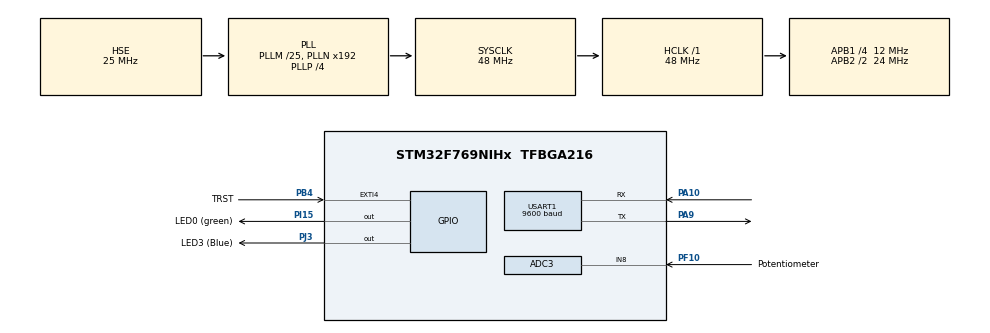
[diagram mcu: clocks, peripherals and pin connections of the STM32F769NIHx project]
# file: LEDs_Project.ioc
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ADC1.Channel-0\#ChannelRegularConversion=ADC_CHANNEL_TEMPSENSOR
ADC1.ContinuousConvMode=ENABLE
ADC1.DMAContinuousRequests=ENABLE
ADC1.NbrOfConversionFlag=1
ADC1.Rank-0\#ChannelRegularConversion=1
ADC1.SamplingTime-0\#ChannelRegularConversion=ADC_SAMPLETIME_3CYCLES
ADC1.ScanConvMode=ADC_SCAN_ENABLE
ADC1.master=1
ADC3.Channel-0\#ChannelRegularConversion=ADC_CHANNEL_8
ADC3.ClockPrescaler=ADC_CLOCK_SYNC_PCLK_DIV2
ADC3.ContinuousConvMode=ENABLE
ADC3.DMAContinuousRequests=ENABLE
ADC3.EOCSelection=ADC_EOC_SINGLE_CONV
ADC3.InjNumberOfConversion=0
ADC3.NbrOfConversion=1
ADC3.NbrOfConversionFlag=1
ADC3.Rank-0\#ChannelRegularConversion=1
ADC3.SamplingTime-0\#ChannelRegularConversion=ADC_SAMPLETIME_3CYCLES
ADC3.ScanConvMode=ADC_SCAN_ENABLE
DSIHOST_CKN.GPIO_Label=DSI_CK_N
DSIHOST_CKN.Signal=DSIHOST_CKN
DSIHOST_CKP.GPIO_Label=DSI_CK_P
DSIHOST_CKP.Signal=DSIHOST_CKP
DSIHOST_D0N.GPIO_Label=DSI_D0_N
DSIHOST_D0N.Signal=DSIHOST_D0N
DSIHOST_D0P.GPIO_Label=DSI_D0_P
DSIHOST_D0P.Signal=DSIHOST_D0P
DSIHOST_D1N.GPIO_Label=DSI_D1_N
DSIHOST_D1N.Signal=DSIHOST_D1N
DSIHOST_D1P.GPIO_Label=DSI_D1_P
DSIHOST_D1P.Signal=DSIHOST_D1P
Dma.ADC1.2.Direction=DMA_PERIPH_TO_MEMORY
Dma.ADC1.2.FIFOMode=DMA_FIFOMODE_DISABLE
Dma.ADC1.2.Instance=DMA2_Stream0
Dma.ADC1.2.MemDataAlignment=DMA_MDATAALIGN_HALFWORD
Dma.ADC1.2.MemInc=DMA_MINC_ENABLE
Dma.ADC1.2.Mode=DMA_NORMAL
Dma.ADC1.2.PeriphDataAlignment=DMA_PDATAALIGN_HALFWORD
Dma.ADC1.2.PeriphInc=DMA_PINC_DISABLE
Dma.ADC1.2.Priority=DMA_PRIORITY_LOW
Dma.ADC3.3.Direction=DMA_PERIPH_TO_MEMORY
Dma.ADC3.3.FIFOMode=DMA_FIFOMODE_DISABLE
Dma.ADC3.3.Instance=DMA2_Stream1
Dma.ADC3.3.MemDataAlignment=DMA_MDATAALIGN_HALFWORD
Dma.ADC3.3.MemInc=DMA_MINC_ENABLE
Dma.ADC3.3.Mode=DMA_NORMAL
Dma.ADC3.3.PeriphDataAlignment=DMA_PDATAALIGN_HALFWORD
Dma.ADC3.3.PeriphInc=DMA_PINC_DISABLE
Dma.ADC3.3.Priority=DMA_PRIORITY_LOW
Dma.Request0=USART1_RX
Dma.Request1=USART1_TX
Dma.Request2=ADC1
Dma.Request3=ADC3
Dma.USART1_RX.0.Direction=DMA_PERIPH_TO_MEMORY
Dma.USART1_RX.0.FIFOMode=DMA_FIFOMODE_DISABLE
Dma.USART1_RX.0.Instance=DMA2_Stream2
Dma.USART1_RX.0.MemDataAlignment=DMA_MDATAALIGN_BYTE
Dma.USART1_RX.0.MemInc=DMA_MINC_ENABLE
Dma.USART1_RX.0.Mode=DMA_NORMAL
Dma.USART1_RX.0.PeriphDataAlignment=DMA_PDATAALIGN_BYTE
Dma.USART1_RX.0.PeriphInc=DMA_PINC_DISABLE
Dma.USART1_RX.0.Priority=DMA_PRIORITY_LOW
Dma.USART1_TX.1.Direction=DMA_MEMORY_TO_PERIPH
Dma.USART1_TX.1.FIFOMode=DMA_FIFOMODE_DISABLE
Dma.USART1_TX.1.Instance=DMA2_Stream7
Dma.USART1_TX.1.MemDataAlignment=DMA_MDATAALIGN_BYTE
Dma.USART1_TX.1.MemInc=DMA_MINC_ENABLE
Dma.USART1_TX.1.Mode=DMA_NORMAL
Dma.USART1_TX.1.PeriphDataAlignment=DMA_PDATAALIGN_BYTE
Dma.USART1_TX.1.PeriphInc=DMA_PINC_DISABLE
Dma.USART1_TX.1.Priority=DMA_PRIORITY_LOW
Mcu.Family=STM32F7
Mcu.Name=STM32F769NIHx
Mcu.Package=TFBGA216
NVIC.ADC_IRQn=true\:0\:0\:false\:false\:true\:true\:true\:true
NVIC.DMA2_Stream0_IRQn=true\:0\:0\:false\:false\:true\:false\:true\:true
NVIC.DMA2_Stream1_IRQn=true\:0\:0\:false\:false\:true\:false\:true\:true
NVIC.DMA2_Stream2_IRQn=true\:0\:0\:false\:false\:true\:false\:true\:true
NVIC.DMA2_Stream7_IRQn=true\:0\:0\:false\:false\:true\:false\:true\:true
NVIC.EXTI4_IRQn=true\:0\:0\:false\:false\:true\:true\:true\:true
NVIC.PriorityGroup=NVIC_PRIORITYGROUP_4
NVIC.TIM6_DAC_IRQn=true\:0\:0\:false\:false\:true\:true\:true\:true
NVIC.USART1_IRQn=true\:0\:0\:false\:false\:true\:true\:true\:true
PA0/WKUP.GPIO_Label=SAI2_SDB [WM8994ECS/R_DACDATA1]
PA0/WKUP.Signal=SAI2_SD_B
PA1.GPIO_Label=MII_RX_CLK [DP83848CVV_RX_CLK]
PA1.Signal=ETH_RX_CLK
PA10.GPIO_ModeDefaultPP=GPIO_MODE_AF_PP
PA10.GPIO_PuPd=GPIO_NOPULL
PA10.GPIO_Speed=GPIO_SPEED_FREQ_VERY_HIGH
PA10.Mode=Asynchronous
PA10.Signal=USART1_RX
PA11.GPIO_Label=USB_FS1_DM
PA11.Signal=USB_OTG_FS_DM
PA12.GPIO_Label=USB_FS1_DP
PA12.Signal=USB_OTG_FS_DP
PA13.GPIO_Label=TMS/SWDIO
PA13.Mode=Serial_Wire
PA13.Signal=SYS_JTMS-SWDIO
PA14.GPIO_Label=TCK/SWCLK
PA14.Mode=Serial_Wire
PA14.Signal=SYS_JTCK-SWCLK
PA15.GPIO_Label=TDI
PA15.Signal=SYS_JTDI
PA2.GPIO_Label=SAI2_SCKB [WM8994ECS/R_BCLK1]
PA2.Signal=SAI2_SCK_B
PA3.GPIO_Label=ULPI_D0 [USB3300-EZK_D0]
PA3.Signal=USB_OTG_HS_ULPI_D0
PA4.GPIO_Label=PAR_HSYNC
PA4.Signal=DCMI_HSYNC
PA5.GPIO_Label=ULPI_CK [USB3300-EZK_CLKOUT]
PA5.Signal=USB_OTG_HS_ULPI_CK
PA6.GPIO_Label=PAR_PCLK
PA6.Signal=DCMI_PIXCLK
PA7.GPIO_Label=MII_RX_DV [DP83848CVV_RX_DV]
PA7.Signal=ETH_RX_DV
PA8.GPIO_Label=MII_MCO [DP83848CVV_X1]
PA8.Signal=RCC_MCO_1
PA9.GPIO_ModeDefaultPP=GPIO_MODE_AF_PP
PA9.GPIO_PuPd=GPIO_NOPULL
PA9.GPIO_Speed=GPIO_SPEED_FREQ_VERY_HIGH
PA9.Mode=Asynchronous
PA9.Signal=USART1_TX
PB10.GPIO_Label=ULPI_D3 [USB3300-EZK_D3]
PB10.Signal=USB_OTG_HS_ULPI_D3
PB11.GPIO_Label=ULPI_D4 [USB3300-EZK_D4]
PB11.Signal=USB_OTG_HS_ULPI_D4
PB12.GPIO_Label=ULPI_D5 [USB3300-EZK_D5]
PB12.Signal=USB_OTG_HS_ULPI_D5
PB13.GPIO_Label=ULPI_D6 [USB3300-EZK_D6]
PB13.Signal=USB_OTG_HS_ULPI_D6
PB14.GPIO_Label=USB_FS2_DM
PB14.Signal=USB_OTG_HS_DM
PB15.GPIO_Label=USB_FS2_DP
PB15.Signal=USB_OTG_HS_DP
PB4.GPIO_Label=TRST
PB4.GPIO_ModeDefaultEXTI=GPIO_MODE_IT_FALLING
PB4.GPIO_PuPd=GPIO_PULLUP
PB4.Signal=GPXTI4
PB5.GPIO_Label=ULPI_D7 [USB3300-EZK_D7]
PB5.Signal=USB_OTG_HS_ULPI_D7
PB6.GPIO_Label=QSPI_BK1_NCS [MT25QL512ABA8ESF-0SIT_CS]
PB6.Signal=QUADSPI_BK1_NCS
PB7.GPIO_Label=PAR_VSYNC
PB7.Signal=DCMI_VSYNC
PB8.GPIO_Label=I2C1_SCL [WM8994ECS/R_SCLK]
PB8.Signal=I2C1_SCL
PB9.GPIO_Label=I2C1_SDA [WM8994ECS/R_SDA]
PB9.Signal=I2C1_SDA
PC0.GPIO_Label=ULPI_STP [USB3300-EZK_STP]
PC0.Signal=USB_OTG_HS_ULPI_STP
PC1.GPIO_Label=SAI1_SDA [WM8994ECS/R_ADCDAT1]
PC1.Signal=SAI1_SD_A
PC10.GPIO_Label=SD1_D2 [SMS064FF_1]
PC10.Signal=SDMMC1_D2
PC11.GPIO_Label=SD1_D3 [SMS064FF_2]
PC11.Signal=SDMMC1_D3
PC12.GPIO_Label=SD1_CLK [SMS064FF_5]
PC12.Signal=SDMMC1_CK
PC14/OSC32_IN.GPIO_Label=OSC32_IN
PC14/OSC32_IN.Mode=LSE-External-Oscillator
PC14/OSC32_IN.Signal=RCC_OSC32_IN
PC15/OSC32_OUT.GPIO_Label=OSC32_OUT
PC15/OSC32_OUT.Mode=LSE-External-Oscillator
PC15/OSC32_OUT.Signal=RCC_OSC32_OUT
PC2.GPIO_Label=MII_TXD2 [DP83848CVV_TXD_2]
PC2.Signal=ETH_TXD2
PC3.GPIO_Label=MII_TX_CLK [DP83848CVV_TX_CLK]
PC3.Signal=ETH_TX_CLK
PC4.GPIO_Label=MII_RXD0 [DP83848CVV_RXD_0/PHYAD1]
PC4.Signal=ETH_RXD0
PC5.GPIO_Label=MII_RXD1 [DP83848CVV_RXD_1/PHYAD2]
PC5.Signal=ETH_RXD1
PC6.GPIO_Label=FMC_NWAIT [PC28F128M29EWLA_RB]
PC6.Signal=FMC_NWAIT
PC7.GPIO_Label=FMC_NE1 [PC28F128M29EWLA_E]
PC7.Signal=FMC_NE1
PC8.GPIO_Label=SD1_D0 [SMS064FF_7]
PC8.Signal=SDMMC1_D0
PC9.GPIO_Label=SD1_D1 [SMS064FF_8]
PC9.Signal=SDMMC1_D1
PD0.GPIO_Label=D2[IS61WV102416BLL_I/OD2]
PD0.Signal=FMC_D2_DA2
PD1.GPIO_Label=D3 [IS61WV102416BLL_I/O3]
PD1.Signal=FMC_D3_DA3
PD10.GPIO_Label=D15 [IS61WV102416BLL_I/O15]
PD10.Signal=FMC_D15_DA15
PD11.GPIO_Label=A16 [IS61WV102416BLL_A16]
PD11.Signal=FMC_A16_CLE
PD12.GPIO_Label=A17 [IS61WV102416BLL_A17]
PD12.Signal=FMC_A17_ALE
PD13.GPIO_Label=A18 [IS61WV102416BLL_A18]
PD13.Signal=FMC_A18
PD14.GPIO_Label=D0 [IS61WV102416BLL_I/O0]
PD14.Signal=FMC_D0_DA0
PD15.GPIO_Label=D1 [IS61WV102416BLL_I/O1]
PD15.Signal=FMC_D1_DA1
PD2.GPIO_Label=SD1_CMD [SMS064FF_3]
PD2.Signal=SDMMC1_CMD
PD3.GPIO_Label=PAR_D5
PD3.Signal=DCMI_D5
PD4.GPIO_Label=FMC_NOE [IS61WV102416BLL_OE]
PD4.Signal=FMC_NOE
PD5.GPIO_Label=FMC_NWE [IS61WV102416BLL_WE]
PD5.Signal=FMC_NWE
PD6.GPIO_Label=SD2_CLK [SMS064FF_5]
PD6.Signal=SDMMC2_CK
PD7.GPIO_Label=SD2_CMD [SMS064FF_3]
PD7.Signal=SDMMC2_CMD
PD8.GPIO_Label=D13 [IS61WV102416BLL_I/O13]
PD8.Signal=FMC_D13_DA13
PD9.GPIO_Label=D14 [IS61WV102416BLL_I/O14]
PD9.Signal=FMC_D14_DA14
PE0.GPIO_Label=FMC_NBL0 [IS61WV102416BLL_BLE]
PE0.Signal=FMC_NBL0
PE1.GPIO_Label=FMC_NBL1 [IS61WV102416BLL_BHE]
PE1.Signal=FMC_NBL1
PE10.GPIO_Label=D7 [IS61WV102416BLL_I/O7]
PE10.Signal=FMC_D7_DA7
PE11.GPIO_Label=D8 [IS61WV102416BLL_I/O8]
PE11.Signal=FMC_D8_DA8
PE12.GPIO_Label=D9 [IS61WV102416BLL_I/O9]
PE12.Signal=FMC_D9_DA9
PE13.GPIO_Label=D10 [IS61WV102416BLL_I/O10]
PE13.Signal=FMC_D10_DA10
PE14.GPIO_Label=D11 [IS61WV102416BLL_I/O11]
PE14.Signal=FMC_D11_DA11
PE15.GPIO_Label=D12 [IS61WV102416BLL_I/O12]
PE15.Signal=FMC_D12_DA12
PE2.GPIO_Label=MII_TXD3 [DP83848CVV_TXD_3]
PE2.Signal=ETH_TXD3
PE3.GPIO_Label=A19 [IS61WV102416BLL_A19]
PE3.Signal=FMC_A19
PE4.GPIO_Label=A20 [IS61WV102416BLL_A20]
PE4.Signal=FMC_A20
PE5.GPIO_Label=A21 [PC28F128M29EWLA_A21]
PE5.Signal=FMC_A21
PE6.GPIO_Label=SAI2_MCLKB [WM8994ECS/R_MCLK1]
PE6.Signal=SAI2_MCLK_B
PE7.GPIO_Label=D4 [IS61WV102416BLL_I/O4]
PE7.Signal=FMC_D4_DA4
PE8.GPIO_Label=D5 [IS61WV102416BLL_I/O5]
PE8.Signal=FMC_D5_DA5
PE9.GPIO_Label=D6 [IS61WV102416BLL_I/O6]
PE9.Signal=FMC_D6_DA6
PF0.GPIO_Label=A0 [IS61WV102416BLL_A0]
PF0.Signal=FMC_A0
PF1.GPIO_Label=A1 [IS61WV102416BLL_A1]
PF1.Signal=FMC_A1
PF10.GPIO_Label=Potentiometer
PF10.Mode=IN8
PF10.Signal=ADC3_IN8
PF11.GPIO_Label=SDNRAS [IS42S32800G_RAS]
PF11.Signal=FMC_SDNRAS
PF12.GPIO_Label=A6 [IS61WV102416BLL_A6]
PF12.Signal=FMC_A6
PF13.GPIO_Label=A7 [IS61WV102416BLL_A7]
PF13.Signal=FMC_A7
PF14.GPIO_Label=A8 [IS61WV102416BLL_A8]
PF14.Signal=FMC_A8
PF15.GPIO_Label=A9 [IS61WV102416BLL_A9]
PF15.Signal=FMC_A9
PF2.GPIO_Label=A2 [IS61WV102416BLL_A2]
PF2.Signal=FMC_A2
PF3.GPIO_Label=A3 [IS61WV102416BLL_A3]
PF3.Signal=FMC_A3
PF4.GPIO_Label=A4 [IS61WV102416BLL_A4]
PF4.Signal=FMC_A4
PF5.GPIO_Label=A5 [IS61WV102416BLL_A5]
PF5.Signal=FMC_A5
PF6.GPIO_Label=QSPI_BK1_IO3 [MT25QL512ABA8ESF_HOLD\#/DQ3]
PF6.Signal=QUADSPI_BK1_IO3
PF7.GPIO_Label=QSPI_BK1_IO2 [MT25QL512ABA8ESF_W\#/Vpp/DQ2]
PF7.Signal=QUADSPI_BK1_IO2
PF8.GPIO_Label=QSPI_BK1_IO0 [MT25QL512ABA8ESF_DQ0]
PF8.Signal=QUADSPI_BK1_IO0
PF9.GPIO_Label=QSPI_BK1_IO1 [MT25QL512ABA8ESF_DQ1]
PF9.Signal=QUADSPI_BK1_IO1
PG0.GPIO_Label=A10 [IS61WV102416BLL_A10]
PG0.Signal=FMC_A10
PG1.GPIO_Label=A11 [IS61WV102416BLL_A11]
PG1.Signal=FMC_A11
PG10.GPIO_Label=SD2_D1 [SMS064FF_8]
PG10.Signal=SDMMC2_D1
PG11.GPIO_Label=MII_TX_EN [DP83848CVV_TX_EN]
PG11.Signal=ETH_TX_EN
PG12.GPIO_Label=SPDIF_RX1 [DLR11H0_1]
PG12.Signal=SPDIFRX_IN1
PG13.GPIO_Label=MII_TXD0 [DP83848CVV_TXD0]
PG13.Signal=ETH_TXD0
PG14.GPIO_Label=MII_TXD1 [DP83848CVV_TXD1]
PG14.Signal=ETH_TXD1
PG15.GPIO_Label=SDNCAS [IS42S32800G-6BLI_CAS]
PG15.Signal=FMC_SDNCAS
PG2.GPIO_Label=A12 [IS61WV102416BLL_A12]
PG2.Signal=FMC_A12
PG3.GPIO_Label=A13 [IS61WV102416BLL_A13]
PG3.Signal=FMC_A13
PG4.GPIO_Label=A14 [IS61WV102416BLL_A14]
PG4.Signal=FMC_A14_BA0
PG5.GPIO_Label=A15 [IS61WV102416BLL_A15]
PG5.Signal=FMC_A15_BA1
PG6.GPIO_Label=FMC_NE3 [IS61WV102416BLL_WE]
PG6.Signal=FMC_NE3
PG7.GPIO_Label=NAND_INT
PG7.Signal=FMC_INT
PG8.GPIO_Label=SDCLK [IS42S32800G_CLK]
PG8.Signal=FMC_SDCLK
PG9.GPIO_Label=SAI2_FSB [WM8994ECS/R_LRCLK1]
PG9.Signal=SAI2_FS_B
PH0/OSC_IN.GPIO_Label=OSC_IN
PH0/OSC_IN.Mode=HSE-External-Oscillator
PH0/OSC_IN.Signal=RCC_OSC_IN
PH1/OSC_OUT.GPIO_Label=OSC_OUT
PH1/OSC_OUT.Mode=HSE-External-Oscillator
PH1/OSC_OUT.Signal=RCC_OSC_OUT
PH10.GPIO_Label=D18 [IS42S32800G_DQ18]
PH10.Signal=FMC_D18
PH11.GPIO_Label=D19 [IS42S32800G_DQ19]
PH11.Signal=FMC_D19
PH12.GPIO_Label=D20 [IS42S32800G_DQ20]
PH12.Signal=FMC_D20
PH13.GPIO_Label=D21 [IS42S32800G_DQ21]
PH13.Signal=FMC_D21
PH14.GPIO_Label=D22 [IS42S32800G_DQ22]
PH14.Signal=FMC_D22
PH15.GPIO_Label=D23 [IS42S32800G_DQ23]
PH15.Signal=FMC_D23
PH2.GPIO_Label=SDCKE0 [IS42S32800G_CKE]
PH2.Signal=FMC_SDCKE0
PH3.GPIO_Label=SDNE0 [IS42S32800G_CS]
PH3.Signal=FMC_SDNE0
PH4.GPIO_Label=ULPI_NXT [USB3300-EZK_NXT]
PH4.Signal=USB_OTG_HS_ULPI_NXT
PH5.GPIO_Label=SDNWE [IS42S32800G_WE]
PH5.Signal=FMC_SDNWE
PH6.GPIO_Label=MII_RXD2 [DP83848CVV_RXD_2/PHYAD3]
PH6.Signal=ETH_RXD2
PH7.GPIO_Label=MII_RXD3 [DP83848CVV_RXD_3/PHYAD4]
PH7.Signal=ETH_RXD3
PH8.GPIO_Label=D16 [IS42S32800G_DQ16]
PH8.Signal=FMC_D16
PH9.GPIO_Label=D17 [IS42S32800G_DQ17]
PH9.Signal=FMC_D17
PI0.GPIO_Label=D24 [IS42S32800G_DQ24]
PI0.Signal=FMC_D24
PI1.GPIO_Label=D25 [IS42S32800G_DQ25]
PI1.Signal=FMC_D25
PI10.GPIO_Label=D31 [IS42S32800G_DQ31]
PI10.Signal=FMC_D31
PI12.GPIO_Label=LCD_HSYNC
PI12.Signal=LTDC_HSYNC
PI13.GPIO_Label=LCD_VSYNC
PI13.Signal=LTDC_VSYNC
PI14.GPIO_Label=LCD_CLK
PI14.Signal=LTDC_CLK
PI15.GPIO_Label=LED0 (green)
PI15.Signal=GPIO_Output
PI2.GPIO_Label=D26 [IS42S32800G_DQ26]
PI2.Signal=FMC_D26
PI3.GPIO_Label=D27 [IS42S32800G_DQ27]
PI3.Signal=FMC_D27
PI4.GPIO_Label=FMC_NBL2 [IS42S32800G_DQM2]
PI4.Signal=FMC_NBL2
PI5.GPIO_Label=FMC_NBL3 [IS42S32800G_DQM3]
PI5.Signal=FMC_NBL3
PI6.GPIO_Label=D28 [IS42S32800G_DQ28]
PI6.Signal=FMC_D28
PI7.GPIO_Label=D29 [IS42S32800G_DQ29]
PI7.Signal=FMC_D29
PI9.GPIO_Label=D30 [IS42S32800G_DQ30]
PI9.Signal=FMC_D30
PJ14.GPIO_Label=LCD_B2
PJ14.Signal=LTDC_B2
PJ15.GPIO_Label=LCD_B3
PJ15.Signal=LTDC_B3
PJ2.GPIO_Label=DSI_TE
PJ2.Signal=DSIHOST_TE
PJ3.GPIO_Label=LED3 (Blue)
PJ3.Signal=GPIO_Output
PJ4.GPIO_Label=LCD_R5
PJ4.Signal=LTDC_R5
PJ5.GPIO_Label=LCD_R6
PJ5.Signal=LTDC_R6
PK3.GPIO_Label=LCD_B4
PK3.Signal=LTDC_B4
PK4.GPIO_Label=LCD_B5
PK4.Signal=LTDC_B5
PK5.GPIO_Label=LCD_B6
PK5.Signal=LTDC_B6
PK6.GPIO_Label=LCD_B7
PK6.Signal=LTDC_B7
PK7.GPIO_Label=LCD_DE
PK7.Signal=LTDC_DE
ProjectManager.HeapSize=0x200
ProjectManager.StackSize=0x400
ProjectManager.TargetToolchain=STM32CubeIDE
RCC.AHBFreq_Value=48000000
RCC.APB1CLKDivider=RCC_HCLK_DIV4
RCC.APB1Freq_Value=12000000
RCC.APB1TimFreq_Value=24000000
RCC.APB2CLKDivider=RCC_HCLK_DIV2
RCC.APB2Freq_Value=24000000
RCC.APB2TimFreq_Value=48000000
RCC.CortexFreq_Value=48000000
RCC.HCLKFreq_Value=48000000
RCC.HSE_VALUE=25000000
RCC.HSI_VALUE=16000000
RCC.PLLM=25
RCC.PLLP=RCC_PLLP_DIV4
RCC.PLLQ=4
RCC.PLLSAIQ=3
RCC.PLLSourceVirtual=RCC_PLLSOURCE_HSE
RCC.SDMMCClockSelection=RCC_SDMMC1CLKSOURCE_CLK48
RCC.SYSCLKFreq_VALUE=48000000
RCC.SYSCLKSource=RCC_SYSCLKSOURCE_PLLCLK
RCC.USBFreq_Value=48000000
RCC.VCOOutputFreq_Value=192000000
SH.FMC_A0.0=FMC_A0
SH.FMC_A1.0=FMC_A1
SH.FMC_A10.0=FMC_A10
SH.FMC_A11.0=FMC_A11
SH.FMC_A12.0=FMC_A12
SH.FMC_A13.0=FMC_A13
SH.FMC_A14_BA0.0=FMC_BA0
SH.FMC_A14_BA0.1=FMC_A14
SH.FMC_A15_BA1.0=FMC_BA1
SH.FMC_A15_BA1.1=FMC_A15
SH.FMC_A16_CLE.0=FMC_A16
SH.FMC_A17_ALE.0=FMC_A17
SH.FMC_A18.0=FMC_A18
SH.FMC_A19.0=FMC_A19
SH.FMC_A2.0=FMC_A2
SH.FMC_A20.0=FMC_A20
SH.FMC_A21.0=FMC_A21
SH.FMC_A3.0=FMC_A3
SH.FMC_A4.0=FMC_A4
SH.FMC_A5.0=FMC_A5
SH.FMC_A6.0=FMC_A6
SH.FMC_A7.0=FMC_A7
SH.FMC_A8.0=FMC_A8
SH.FMC_A9.0=FMC_A9
SH.FMC_D0_DA0.0=FMC_D0
SH.FMC_D10_DA10.0=FMC_D10
SH.FMC_D11_DA11.0=FMC_D11
SH.FMC_D12_DA12.0=FMC_D12
SH.FMC_D13_DA13.0=FMC_D13
SH.FMC_D14_DA14.0=FMC_D14
SH.FMC_D15_DA15.0=FMC_D15
SH.FMC_D16.0=FMC_D16
SH.FMC_D17.0=FMC_D17
SH.FMC_D18.0=FMC_D18
SH.FMC_D19.0=FMC_D19
SH.FMC_D1_DA1.0=FMC_D1
SH.FMC_D20.0=FMC_D20
SH.FMC_D21.0=FMC_D21
SH.FMC_D22.0=FMC_D22
SH.FMC_D23.0=FMC_D23
SH.FMC_D24.0=FMC_D24
SH.FMC_D25.0=FMC_D25
SH.FMC_D26.0=FMC_D26
SH.FMC_D27.0=FMC_D27
SH.FMC_D28.0=FMC_D28
SH.FMC_D29.0=FMC_D29
SH.FMC_D2_DA2.0=FMC_D2
SH.FMC_D30.0=FMC_D30
SH.FMC_D31.0=FMC_D31
SH.FMC_D3_DA3.0=FMC_D3
SH.FMC_D4_DA4.0=FMC_D4
SH.FMC_D5_DA5.0=FMC_D5
SH.FMC_D6_DA6.0=FMC_D6
SH.FMC_D7_DA7.0=FMC_D7
SH.FMC_D8_DA8.0=FMC_D8
SH.FMC_D9_DA9.0=FMC_D9
SH.FMC_INT.0=FMC_INT
SH.FMC_NBL0.0=FMC_NBL0
SH.FMC_NBL1.0=FMC_NBL1
SH.FMC_NBL2.0=FMC_NBL2
SH.FMC_NBL3.0=FMC_NBL3
SH.FMC_NOE.0=FMC_NOE
SH.FMC_NWAIT.0=FMC_NWAIT
SH.FMC_NWE.0=FMC_NWE
SH.FMC_SDCLK.0=FMC_SDCLK
SH.FMC_SDNCAS.0=FMC_SDNCAS
SH.FMC_SDNRAS.0=FMC_SDNRAS
SH.FMC_SDNWE.0=FMC_SDNWE
TIM6.AutoReloadPreload=TIM_AUTORELOAD_PRELOAD_ENABLE
TIM6.Period=499
TIM6.Prescaler=21599
USART1.BaudRate=9600
USART1.VirtualMode-Asynchronous=VM_ASYNC
VP_ADC1_TempSens_Input.Mode=IN-TempSens
VP_TIM6_VS_ClockSourceINT.Mode=Enable_Timer
board=STM32F769I-EVAL

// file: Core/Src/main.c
/* USER CODE BEGIN Header */
/**
 ******************************************************************************
 * @file           : main.c
 * @brief          : Main program body
 ******************************************************************************
 * @attention
 *
 * Copyright (c) 2024 STMicroelectronics.
 * All rights reserved.
 *
 * This software is licensed under terms that can be found in the LICENSE file
 * in the root directory of this software component.
 * If no LICENSE file comes with this software, it is provided AS-IS.
 *
 ******************************************************************************
 */
/* USER CODE END Header */
#include "main.h"

/* USER CODE BEGIN Includes */
#include "stdbool.h"
/* USER CODE END Includes */

ADC_HandleTypeDef hadc1;
ADC_HandleTypeDef hadc3;
DMA_HandleTypeDef hdma_adc1;
DMA_HandleTypeDef hdma_adc3;

TIM_HandleTypeDef htim6;

UART_HandleTypeDef huart1;
DMA_HandleTypeDef hdma_usart1_rx;
DMA_HandleTypeDef hdma_usart1_tx;

/* USER CODE BEGIN PV */
uint8_t aTxStartMessage[] = "\n\r ****LEDs Project\n\r";
uint8_t GPIO_Message[] = "\n\r TRST Pin\n\r";
uint8_t aRxBuffer[1];
uint8_t TRST_pin = 1;
uint8_t TRST_pin_last = 1;
uint32_t TRST_pin_debounce = 1;
uint32_t filter_delay = 0;
bool is_defounce = 0;

uint32_t rawADCdata;
const uint32_t ADC_dt = 2000; // ms
uint32_t ADC_start_conversion_time;
bool isConfersion = false;
float Volts;
char msg[20];
/* USER CODE END PV */

void SystemClock_Config(void);
static void MX_GPIO_Init(void);
static void MX_DMA_Init(void);
static void MX_ADC3_Init(void);
static void MX_USART1_UART_Init(void);
static void MX_TIM6_Init(void);
static void MX_ADC1_Init(void);

/* USER CODE BEGIN 0 */
uint32_t debounce(uint8_t *pin_name, uint8_t *pin_name_last, uint32_t *delay) {
	if (*delay == 0) {
		*pin_name = HAL_GPIO_ReadPin(GPIOB, GPIO_PIN_4);
	}
	if (*pin_name != *pin_name_last) {
		*delay = HAL_GetTick();
	}
	if (*delay != 0 && (HAL_GetTick() - *delay) > 1000) {
		*delay = 0;
		return 0;
	}
	*pin_name_last = *pin_name;
}

/* USER CODE END 0 */

int main(void)
{

  /* MCU Configuration--------------------------------------------------------*/

  /* Reset of all peripherals, Initializes the Flash interface and the Systick. */
  HAL_Init();

  /* Configure the system clock */
  SystemClock_Config();

  /* Initialize all configured peripherals */
  MX_GPIO_Init();
  MX_DMA_Init();
  MX_ADC3_Init();
  MX_USART1_UART_Init();
  MX_TIM6_Init();
  MX_ADC1_Init();
  /* USER CODE BEGIN 2 */
	if (HAL_UART_Transmit_DMA(&huart1, (uint8_t*) aTxStartMessage,
			(uint16_t) (sizeof(aTxStartMessage) - 1)) != HAL_OK) {
		/* Transfer error in transmission process */
		Error_Handler();
	}
//  if (HAL_UART_Receive_DMA(&huart1, (uint8_t *)aRxBuffer, sizeof(aRxBuffer)) != HAL_OK)
//  {
//    /* Transfer error in reception process */
//    Error_Handler();
//  }

	while (HAL_UART_GetState(&huart1) != HAL_UART_STATE_READY) {
		HAL_UART_IRQHandler(&huart1);
	}
	HAL_TIM_Base_Start_IT(&htim6);
	HAL_ADC_Start_DMA(&hadc1, (uint32_t*)rawADCdata, 1);
//	if (HAL_TIM_Base_Start(&htim6) != HAL_OK) {
//		Error_Handler();
//	}
//  HAL_Delay(200);
  /* USER CODE END 2 */

  /* Infinite loop */
	while (1) {

    /* USER CODE BEGIN 3 */

		//TRST_pin_debounce = debounce(&TRST_pin, &TRST_pin_last, &filter_delay);
		if (TRST_pin_debounce == 0) {
			while (HAL_UART_GetState(&huart1) != HAL_UART_STATE_READY) {
				HAL_UART_IRQHandler(&huart1);
			}
			if (HAL_UART_Transmit_DMA(&huart1, (uint8_t*) GPIO_Message,
					(uint16_t) (sizeof(GPIO_Message) - 1)) != HAL_OK) {
				Error_Handler();
			}
			TRST_pin_debounce = 1;
		}
		if (!isConfersion) {
			ADC_start_conversion_time = HAL_GetTick();
			isConfersion = true;
		}
		uint32_t curent_time = HAL_GetTick();
		uint32_t curent_time_with_delay = ADC_start_conversion_time + ADC_dt;
		if (curent_time_with_delay < curent_time) {
			HAL_ADC_Start_DMA(&hadc1, &rawADCdata, 1);
			Volts = 3300 * ((float) rawADCdata) / 4095;
			sprintf(msg, "Volts: %f\r", Volts);
			while (HAL_UART_GetState(&huart1) != HAL_UART_STATE_READY) {
				HAL_UART_IRQHandler(&huart1);
			}
			if (HAL_UART_Transmit_DMA(&huart1, (uint8_t*) msg,
					strlen(msg)) != HAL_OK) {
				Error_Handler();
			}
			//HAL_ADC_Stop_DMA(&hadc3);
			ADC_start_conversion_time = 0;
			isConfersion = false;
		}
	}

  /* USER CODE END 3 */
}

void SystemClock_Config(void)
{
  RCC_OscInitTypeDef RCC_OscInitStruct = {0};
  RCC_ClkInitTypeDef RCC_ClkInitStruct = {0};

  /** Configure LSE Drive Capability
  */
  HAL_PWR_EnableBkUpAccess();

  /** Configure the main internal regulator output voltage
  */
  __HAL_RCC_PWR_CLK_ENABLE();
  __HAL_PWR_VOLTAGESCALING_CONFIG(PWR_REGULATOR_VOLTAGE_SCALE3);

  /** Initializes the RCC Oscillators according to the specified parameters
  * in the RCC_OscInitTypeDef structure.
  */
  RCC_OscInitStruct.OscillatorType = RCC_OSCILLATORTYPE_HSE;
  RCC_OscInitStruct.HSEState = RCC_HSE_ON;
  RCC_OscInitStruct.PLL.PLLState = RCC_PLL_ON;
  RCC_OscInitStruct.PLL.PLLSource = RCC_PLLSOURCE_HSE;
  RCC_OscInitStruct.PLL.PLLM = 25;
  RCC_OscInitStruct.PLL.PLLN = 192;
  RCC_OscInitStruct.PLL.PLLP = RCC_PLLP_DIV4;
  RCC_OscInitStruct.PLL.PLLQ = 4;
  RCC_OscInitStruct.PLL.PLLR = 2;
  if (HAL_RCC_OscConfig(&RCC_OscInitStruct) != HAL_OK)
  {
    Error_Handler();
  }

  /** Initializes the CPU, AHB and APB buses clocks
  */
  RCC_ClkInitStruct.ClockType = RCC_CLOCKTYPE_HCLK|RCC_CLOCKTYPE_SYSCLK
                              |RCC_CLOCKTYPE_PCLK1|RCC_CLOCKTYPE_PCLK2;
  RCC_ClkInitStruct.SYSCLKSource = RCC_SYSCLKSOURCE_PLLCLK;
  RCC_ClkInitStruct.AHBCLKDivider = RCC_SYSCLK_DIV1;
  RCC_ClkInitStruct.APB1CLKDivider = RCC_HCLK_DIV4;
  RCC_ClkInitStruct.APB2CLKDivider = RCC_HCLK_DIV2;

  if (HAL_RCC_ClockConfig(&RCC_ClkInitStruct, FLASH_LATENCY_1) != HAL_OK)
  {
    Error_Handler();
  }
}

static void MX_ADC1_Init(void)
{

  ADC_ChannelConfTypeDef sConfig = {0};

  /** Configure the global features of the ADC (Clock, Resolution, Data Alignment and number of conversion)
  */
  hadc1.Instance = ADC1;
  hadc1.Init.ClockPrescaler = ADC_CLOCK_SYNC_PCLK_DIV2;
  hadc1.Init.Resolution = ADC_RESOLUTION_12B;
  hadc1.Init.ScanConvMode = ADC_SCAN_ENABLE;
  hadc1.Init.ContinuousConvMode = ENABLE;
  hadc1.Init.DiscontinuousConvMode = DISABLE;
  hadc1.Init.ExternalTrigConvEdge = ADC_EXTERNALTRIGCONVEDGE_NONE;
  hadc1.Init.ExternalTrigConv = ADC_SOFTWARE_START;
  hadc1.Init.DataAlign = ADC_DATAALIGN_RIGHT;
  hadc1.Init.NbrOfConversion = 1;
  hadc1.Init.DMAContinuousRequests = ENABLE;
  hadc1.Init.EOCSelection = ADC_EOC_SINGLE_CONV;
  if (HAL_ADC_Init(&hadc1) != HAL_OK)
  {
    Error_Handler();
  }

  /** Configure for the selected ADC regular channel its corresponding rank in the sequencer and its sample time.
  */
  sConfig.Channel = ADC_CHANNEL_TEMPSENSOR;
  sConfig.Rank = ADC_REGULAR_RANK_1;
  sConfig.SamplingTime = ADC_SAMPLETIME_3CYCLES;
  if (HAL_ADC_ConfigChannel(&hadc1, &sConfig) != HAL_OK)
  {
    Error_Handler();
  }

}

static void MX_ADC3_Init(void)
{

  ADC_ChannelConfTypeDef sConfig = {0};

  /** Configure the global features of the ADC (Clock, Resolution, Data Alignment and number of conversion)
  */
  hadc3.Instance = ADC3;
  hadc3.Init.ClockPrescaler = ADC_CLOCK_SYNC_PCLK_DIV2;
  hadc3.Init.Resolution = ADC_RESOLUTION_12B;
  hadc3.Init.ScanConvMode = ADC_SCAN_ENABLE;
  hadc3.Init.ContinuousConvMode = ENABLE;
  hadc3.Init.DiscontinuousConvMode = DISABLE;
  hadc3.Init.ExternalTrigConvEdge = ADC_EXTERNALTRIGCONVEDGE_NONE;
  hadc3.Init.ExternalTrigConv = ADC_SOFTWARE_START;
  hadc3.Init.DataAlign = ADC_DATAALIGN_RIGHT;
  hadc3.Init.NbrOfConversion = 1;
  hadc3.Init.DMAContinuousRequests = ENABLE;
  hadc3.Init.EOCSelection = ADC_EOC_SINGLE_CONV;
  if (HAL_ADC_Init(&hadc3) != HAL_OK)
  {
    Error_Handler();
  }

  /** Configure for the selected ADC regular channel its corresponding rank in the sequencer and its sample time.
  */
  sConfig.Channel = ADC_CHANNEL_8;
  sConfig.Rank = ADC_REGULAR_RANK_1;
  sConfig.SamplingTime = ADC_SAMPLETIME_3CYCLES;
  if (HAL_ADC_ConfigChannel(&hadc3, &sConfig) != HAL_OK)
  {
    Error_Handler();
  }

}

static void MX_TIM6_Init(void)
{

  TIM_MasterConfigTypeDef sMasterConfig = {0};

  htim6.Instance = TIM6;
  htim6.Init.Prescaler = 21599;
  htim6.Init.CounterMode = TIM_COUNTERMODE_UP;
  htim6.Init.Period = 499;
  htim6.Init.AutoReloadPreload = TIM_AUTORELOAD_PRELOAD_ENABLE;
  if (HAL_TIM_Base_Init(&htim6) != HAL_OK)
  {
    Error_Handler();
  }
  sMasterConfig.MasterOutputTrigger = TIM_TRGO_RESET;
  sMasterConfig.MasterSlaveMode = TIM_MASTERSLAVEMODE_DISABLE;
  if (HAL_TIMEx_MasterConfigSynchronization(&htim6, &sMasterConfig) != HAL_OK)
  {
    Error_Handler();
  }

}

static void MX_USART1_UART_Init(void)
{

  huart1.Instance = USART1;
  huart1.Init.BaudRate = 9600;
  huart1.Init.WordLength = UART_WORDLENGTH_8B;
  huart1.Init.StopBits = UART_STOPBITS_1;
  huart1.Init.Parity = UART_PARITY_NONE;
  huart1.Init.Mode = UART_MODE_TX_RX;
  huart1.Init.HwFlowCtl = UART_HWCONTROL_NONE;
  huart1.Init.OverSampling = UART_OVERSAMPLING_16;
  huart1.Init.OneBitSampling = UART_ONE_BIT_SAMPLE_DISABLE;
  huart1.AdvancedInit.AdvFeatureInit = UART_ADVFEATURE_NO_INIT;
  if (HAL_UART_Init(&huart1) != HAL_OK)
  {
    Error_Handler();
  }

}

static void MX_DMA_Init(void)
{

  /* DMA controller clock enable */
  __HAL_RCC_DMA2_CLK_ENABLE();

  /* DMA interrupt init */
  /* DMA2_Stream0_IRQn interrupt configuration */
  HAL_NVIC_SetPriority(DMA2_Stream0_IRQn, 0, 0);
  HAL_NVIC_EnableIRQ(DMA2_Stream0_IRQn);
  /* DMA2_Stream1_IRQn interrupt configuration */
  HAL_NVIC_SetPriority(DMA2_Stream1_IRQn, 0, 0);
  HAL_NVIC_EnableIRQ(DMA2_Stream1_IRQn);
  /* DMA2_Stream2_IRQn interrupt configuration */
  HAL_NVIC_SetPriority(DMA2_Stream2_IRQn, 0, 0);
  HAL_NVIC_EnableIRQ(DMA2_Stream2_IRQn);
  /* DMA2_Stream7_IRQn interrupt configuration */
  HAL_NVIC_SetPriority(DMA2_Stream7_IRQn, 0, 0);
  HAL_NVIC_EnableIRQ(DMA2_Stream7_IRQn);

}

static void MX_GPIO_Init(void)
{
  GPIO_InitTypeDef GPIO_InitStruct = {0};

  /* GPIO Ports Clock Enable */
  __HAL_RCC_GPIOE_CLK_ENABLE();
  __HAL_RCC_GPIOG_CLK_ENABLE();
  __HAL_RCC_GPIOB_CLK_ENABLE();
  __HAL_RCC_GPIOD_CLK_ENABLE();
  __HAL_RCC_GPIOC_CLK_ENABLE();
  __HAL_RCC_GPIOA_CLK_ENABLE();
  __HAL_RCC_GPIOI_CLK_ENABLE();
  __HAL_RCC_GPIOK_CLK_ENABLE();
  __HAL_RCC_GPIOJ_CLK_ENABLE();
  __HAL_RCC_GPIOF_CLK_ENABLE();
  __HAL_RCC_GPIOH_CLK_ENABLE();

  /*Configure GPIO pin Output Level */
  HAL_GPIO_WritePin(LED0_GPIO_Port, LED0_Pin, GPIO_PIN_RESET);

  /*Configure GPIO pin Output Level */
  HAL_GPIO_WritePin(LED3_GPIO_Port, LED3_Pin, GPIO_PIN_RESET);

  /*Configure GPIO pins : A20_Pin A19_Pin FMC_NBL1_Pin FMC_NBL0_Pin
                           A21_Pin D5_Pin D6_Pin D8_Pin
                           D11_Pin D4_Pin D7_Pin D9_Pin
                           D12_Pin D10_Pin */
  GPIO_InitStruct.Pin = A20_Pin|A19_Pin|FMC_NBL1_Pin|FMC_NBL0_Pin
                          |A21_Pin|D5_Pin|D6_Pin|D8_Pin
                          |D11_Pin|D4_Pin|D7_Pin|D9_Pin
                          |D12_Pin|D10_Pin;
  GPIO_InitStruct.Mode = GPIO_MODE_AF_PP;
  GPIO_InitStruct.Pull = GPIO_NOPULL;
  GPIO_InitStruct.Speed = GPIO_SPEED_FREQ_VERY_HIGH;
  GPIO_InitStruct.Alternate = GPIO_AF12_FMC;
  HAL_GPIO_Init(GPIOE, &GPIO_InitStruct);

  /*Configure GPIO pin : MII_TXD3_Pin */
  GPIO_InitStruct.Pin = MII_TXD3_Pin;
  GPIO_InitStruct.Mode = GPIO_MODE_AF_PP;
  GPIO_InitStruct.Pull = GPIO_NOPULL;
  GPIO_InitStruct.Speed = GPIO_SPEED_FREQ_VERY_HIGH;
  GPIO_InitStruct.Alternate = GPIO_AF11_ETH;
  HAL_GPIO_Init(MII_TXD3_GPIO_Port, &GPIO_InitStruct);

  /*Configure GPIO pins : MII_TXD1_Pin MII_TXD0_Pin MII_TX_EN_Pin */
  GPIO_InitStruct.Pin = MII_TXD1_Pin|MII_TXD0_Pin|MII_TX_EN_Pin;
  GPIO_InitStruct.Mode = GPIO_MODE_AF_PP;
  GPIO_InitStruct.Pull = GPIO_NOPULL;
  GPIO_InitStruct.Speed = GPIO_SPEED_FREQ_VERY_HIGH;
  GPIO_InitStruct.Alternate = GPIO_AF11_ETH;
  HAL_GPIO_Init(GPIOG, &GPIO_InitStruct);

  /*Configure GPIO pins : I2C1_SCL_Pin I2C1_SDA_Pin */
  GPIO_InitStruct.Pin = I2C1_SCL_Pin|I2C1_SDA_Pin;
  GPIO_InitStruct.Mode = GPIO_MODE_AF_OD;
  GPIO_InitStruct.Pull = GPIO_NOPULL;
  GPIO_InitStruct.Speed = GPIO_SPEED_FREQ_VERY_HIGH;
  GPIO_InitStruct.Alternate = GPIO_AF4_I2C1;
  HAL_GPIO_Init(GPIOB, &GPIO_InitStruct);

  /*Configure GPIO pins : ULPI_D7_Pin ULPI_D6_Pin ULPI_D5_Pin ULPI_D3_Pin
                           ULPI_D4_Pin */
  GPIO_InitStruct.Pin = ULPI_D7_Pin|ULPI_D6_Pin|ULPI_D5_Pin|ULPI_D3_Pin
                          |ULPI_D4_Pin;
  GPIO_InitStruct.Mode = GPIO_MODE_AF_PP;
  GPIO_InitStruct.Pull = GPIO_NOPULL;
  GPIO_InitStruct.Speed = GPIO_SPEED_FREQ_VERY_HIGH;
  GPIO_InitStruct.Alternate = GPIO_AF10_OTG_HS;
  HAL_GPIO_Init(GPIOB, &GPIO_InitStruct);

  /*Configure GPIO pin : TRST_Pin */
  GPIO_InitStruct.Pin = TRST_Pin;
  GPIO_InitStruct.Mode = GPIO_MODE_IT_FALLING;
  GPIO_InitStruct.Pull = GPIO_PULLUP;
  HAL_GPIO_Init(TRST_GPIO_Port, &GPIO_InitStruct);

  /*Configure GPIO pins : SD2_CMD_Pin SD2_CLK_Pin */
  GPIO_InitStruct.Pin = SD2_CMD_Pin|SD2_CLK_Pin;
  GPIO_InitStruct.Mode = GPIO_MODE_AF_PP;
  GPIO_InitStruct.Pull = GPIO_NOPULL;
  GPIO_InitStruct.Speed = GPIO_SPEED_FREQ_VERY_HIGH;
  GPIO_InitStruct.Alternate = GPIO_AF11_SDMMC2;
  HAL_GPIO_Init(GPIOD, &GPIO_InitStruct);

  /*Configure GPIO pins : SD1_CLK_Pin SD1_D3_Pin SD1_D2_Pin SD1_D1_Pin
                           SD1_D0_Pin */
  GPIO_InitStruct.Pin = SD1_CLK_Pin|SD1_D3_Pin|SD1_D2_Pin|SD1_D1_Pin
                          |SD1_D0_Pin;
  GPIO_InitStruct.Mode = GPIO_MODE_AF_PP;
  GPIO_InitStruct.Pull = GPIO_NOPULL;
  GPIO_InitStruct.Speed = GPIO_SPEED_FREQ_VERY_HIGH;
  GPIO_InitStruct.Alternate = GPIO_AF12_SDMMC1;
  HAL_GPIO_Init(GPIOC, &GPIO_InitStruct);

  /*Configure GPIO pin : SAI2_MCLKB_Pin */
  GPIO_InitStruct.Pin = SAI2_MCLKB_Pin;
  GPIO_InitStruct.Mode = GPIO_MODE_AF_PP;
  GPIO_InitStruct.Pull = GPIO_NOPULL;
  GPIO_InitStruct.Speed = GPIO_SPEED_FREQ_LOW;
  GPIO_InitStruct.Alternate = GPIO_AF10_SAI2;
  HAL_GPIO_Init(SAI2_MCLKB_GPIO_Port, &GPIO_InitStruct);

  /*Configure GPIO pin : PAR_VSYNC_Pin */
  GPIO_InitStruct.Pin = PAR_VSYNC_Pin;
  GPIO_InitStruct.Mode = GPIO_MODE_AF_PP;
  GPIO_InitStruct.Pull = GPIO_NOPULL;
  GPIO_InitStruct.Speed = GPIO_SPEED_FREQ_LOW;
  GPIO_InitStruct.Alternate = GPIO_AF13_DCMI;
  HAL_GPIO_Init(PAR_VSYNC_GPIO_Port, &GPIO_InitStruct);

  /*Configure GPIO pin : QSPI_BK1_NCS_Pin */
  GPIO_InitStruct.Pin = QSPI_BK1_NCS_Pin;
  GPIO_InitStruct.Mode = GPIO_MODE_AF_PP;
  GPIO_InitStruct.Pull = GPIO_NOPULL;
  GPIO_InitStruct.Speed = GPIO_SPEED_FREQ_VERY_HIGH;
  GPIO_InitStruct.Alternate = GPIO_AF10_QUADSPI;
  HAL_GPIO_Init(QSPI_BK1_NCS_GPIO_Port, &GPIO_InitStruct);

  /*Configure GPIO pins : SDNCAS_Pin SDCLK_Pin NAND_INT_Pin FMC_NE3_Pin
                           A11_Pin A13_Pin A12_Pin A10_Pin
                           A15_Pin A14_Pin */
  GPIO_InitStruct.Pin = SDNCAS_Pin|SDCLK_Pin|NAND_INT_Pin|FMC_NE3_Pin
                          |A11_Pin|A13_Pin|A12_Pin|A10_Pin
                          |A15_Pin|A14_Pin;
  GPIO_InitStruct.Mode = GPIO_MODE_AF_PP;
  GPIO_InitStruct.Pull = GPIO_NOPULL;
  GPIO_InitStruct.Speed = GPIO_SPEED_FREQ_VERY_HIGH;
  GPIO_InitStruct.Alternate = GPIO_AF12_FMC;
  HAL_GPIO_Init(GPIOG, &GPIO_InitStruct);

  /*Configure GPIO pins : D2_Pin FMC_NWE_Pin D3_Pin FMC_NOE_Pin
                           D1_Pin D15_Pin D0_Pin D14_Pin
                           D13_Pin A17_Pin A18_Pin A16_Pin */
  GPIO_InitStruct.Pin = D2_Pin|FMC_NWE_Pin|D3_Pin|FMC_NOE_Pin
                          |D1_Pin|D15_Pin|D0_Pin|D14_Pin
                          |D13_Pin|A17_Pin|A18_Pin|A16_Pin;
  GPIO_InitStruct.Mode = GPIO_MODE_AF_PP;
  GPIO_InitStruct.Pull = GPIO_NOPULL;
  GPIO_InitStruct.Speed = GPIO_SPEED_FREQ_VERY_HIGH;
  GPIO_InitStruct.Alternate = GPIO_AF12_FMC;
  HAL_GPIO_Init(GPIOD, &GPIO_InitStruct);

  /*Configure GPIO pins : USB_FS1_DP_Pin USB_FS1_DM_Pin */
  GPIO_InitStruct.Pin = USB_FS1_DP_Pin|USB_FS1_DM_Pin;
  GPIO_InitStruct.Mode = GPIO_MODE_AF_PP;
  GPIO_InitStruct.Pull = GPIO_NOPULL;
  GPIO_InitStruct.Speed = GPIO_SPEED_FREQ_VERY_HIGH;
  GPIO_InitStruct.Alternate = GPIO_AF10_OTG_FS;
  HAL_GPIO_Init(GPIOA, &GPIO_InitStruct);

  /*Configure GPIO pins : FMC_NBL2_Pin D27_Pin D26_Pin FMC_NBL3_Pin
                           D29_Pin D31_Pin D28_Pin D25_Pin
                           D30_Pin D24_Pin */
  GPIO_InitStruct.Pin = FMC_NBL2_Pin|D27_Pin|D26_Pin|FMC_NBL3_Pin
                          |D29_Pin|D31_Pin|D28_Pin|D25_Pin
                          |D30_Pin|D24_Pin;
  GPIO_InitStruct.Mode = GPIO_MODE_AF_PP;
  GPIO_InitStruct.Pull = GPIO_NOPULL;
  GPIO_InitStruct.Speed = GPIO_SPEED_FREQ_VERY_HIGH;
  GPIO_InitStruct.Alternate = GPIO_AF12_FMC;
  HAL_GPIO_Init(GPIOI, &GPIO_InitStruct);

  /*Configure GPIO pins : LCD_DE_Pin LCD_B7_Pin LCD_B6_Pin LCD_B5_Pin
                           LCD_B4_Pin */
  GPIO_InitStruct.Pin = LCD_DE_Pin|LCD_B7_Pin|LCD_B6_Pin|LCD_B5_Pin
                          |LCD_B4_Pin;
  GPIO_InitStruct.Mode = GPIO_MODE_AF_PP;
  GPIO_InitStruct.Pull = GPIO_NOPULL;
  GPIO_InitStruct.Speed = GPIO_SPEED_FREQ_LOW;
  GPIO_InitStruct.Alternate = GPIO_AF14_LTDC;
  HAL_GPIO_Init(GPIOK, &GPIO_InitStruct);

  /*Configure GPIO pin : SPDIF_RX1_Pin */
  GPIO_InitStruct.Pin = SPDIF_RX1_Pin;
  GPIO_InitStruct.Mode = GPIO_MODE_AF_PP;
  GPIO_InitStruct.Pull = GPIO_NOPULL;
  GPIO_InitStruct.Speed = GPIO_SPEED_FREQ_LOW;
  GPIO_InitStruct.Alternate = GPIO_AF7_SPDIFRX;
  HAL_GPIO_Init(SPDIF_RX1_GPIO_Port, &GPIO_InitStruct);

  /*Configure GPIO pin : SD2_D1_Pin */
  GPIO_InitStruct.Pin = SD2_D1_Pin;
  GPIO_InitStruct.Mode = GPIO_MODE_AF_PP;
  GPIO_InitStruct.Pull = GPIO_NOPULL;
  GPIO_InitStruct.Speed = GPIO_SPEED_FREQ_VERY_HIGH;
  GPIO_InitStruct.Alternate = GPIO_AF11_SDMMC2;
  HAL_GPIO_Init(SD2_D1_GPIO_Port, &GPIO_InitStruct);

  /*Configure GPIO pins : LCD_B2_Pin LCD_B3_Pin LCD_R5_Pin LCD_R6_Pin */
  GPIO_InitStruct.Pin = LCD_B2_Pin|LCD_B3_Pin|LCD_R5_Pin|LCD_R6_Pin;
  GPIO_InitStruct.Mode = GPIO_MODE_AF_PP;
  GPIO_InitStruct.Pull = GPIO_NOPULL;
  GPIO_InitStruct.Speed = GPIO_SPEED_FREQ_LOW;
  GPIO_InitStruct.Alternate = GPIO_AF14_LTDC;
  HAL_GPIO_Init(GPIOJ, &GPIO_InitStruct);

  /*Configure GPIO pin : PAR_D5_Pin */
  GPIO_InitStruct.Pin = PAR_D5_Pin;
  GPIO_InitStruct.Mode = GPIO_MODE_AF_PP;
  GPIO_InitStruct.Pull = GPIO_NOPULL;
  GPIO_InitStruct.Speed = GPIO_SPEED_FREQ_LOW;
  GPIO_InitStruct.Alternate = GPIO_AF13_DCMI;
  HAL_GPIO_Init(PAR_D5_GPIO_Port, &GPIO_InitStruct);

  /*Configure GPIO pins : A0_Pin A1_Pin A2_Pin A3_Pin
                           A4_Pin A5_Pin A6_Pin A9_Pin
                           A7_Pin A8_Pin SDNRAS_Pin */
  GPIO_InitStruct.Pin = A0_Pin|A1_Pin|A2_Pin|A3_Pin
                          |A4_Pin|A5_Pin|A6_Pin|A9_Pin
                          |A7_Pin|A8_Pin|SDNRAS_Pin;
  GPIO_InitStruct.Mode = GPIO_MODE_AF_PP;
  GPIO_InitStruct.Pull = GPIO_NOPULL;
  GPIO_InitStruct.Speed = GPIO_SPEED_FREQ_VERY_HIGH;
  GPIO_InitStruct.Alternate = GPIO_AF12_FMC;
  HAL_GPIO_Init(GPIOF, &GPIO_InitStruct);

  /*Configure GPIO pin : SAI2_FSB_Pin */
  GPIO_InitStruct.Pin = SAI2_FSB_Pin;
  GPIO_InitStruct.Mode = GPIO_MODE_AF_PP;
  GPIO_InitStruct.Pull = GPIO_NOPULL;
  GPIO_InitStruct.Speed = GPIO_SPEED_FREQ_LOW;
  GPIO_InitStruct.Alternate = GPIO_AF10_SAI2;
  HAL_GPIO_Init(SAI2_FSB_GPIO_Port, &GPIO_InitStruct);

  /*Configure GPIO pin : SD1_CMD_Pin */
  GPIO_InitStruct.Pin = SD1_CMD_Pin;
  GPIO_InitStruct.Mode = GPIO_MODE_AF_PP;
  GPIO_InitStruct.Pull = GPIO_NOPULL;
  GPIO_InitStruct.Speed = GPIO_SPEED_FREQ_VERY_HIGH;
  GPIO_InitStruct.Alternate = GPIO_AF12_SDMMC1;
  HAL_GPIO_Init(SD1_CMD_GPIO_Port, &GPIO_InitStruct);

  /*Configure GPIO pins : D23_Pin D21_Pin D22_Pin SDNWE_Pin
                           SDNE0_Pin SDCKE0_Pin D20_Pin D17_Pin
                           D19_Pin D16_Pin D18_Pin */
  GPIO_InitStruct.Pin = D23_Pin|D21_Pin|D22_Pin|SDNWE_Pin
                          |SDNE0_Pin|SDCKE0_Pin|D20_Pin|D17_Pin
                          |D19_Pin|D16_Pin|D18_Pin;
  GPIO_InitStruct.Mode = GPIO_MODE_AF_PP;
  GPIO_InitStruct.Pull = GPIO_NOPULL;
  GPIO_InitStruct.Speed = GPIO_SPEED_FREQ_VERY_HIGH;
  GPIO_InitStruct.Alternate = GPIO_AF12_FMC;
  HAL_GPIO_Init(GPIOH, &GPIO_InitStruct);

  /*Configure GPIO pins : LCD_HSYNC_Pin LCD_VSYNC_Pin LCD_CLK_Pin */
  GPIO_InitStruct.Pin = LCD_HSYNC_Pin|LCD_VSYNC_Pin|LCD_CLK_Pin;
  GPIO_InitStruct.Mode = GPIO_MODE_AF_PP;
  GPIO_InitStruct.Pull = GPIO_NOPULL;
  GPIO_InitStruct.Speed = GPIO_SPEED_FREQ_LOW;
  GPIO_InitStruct.Alternate = GPIO_AF14_LTDC;
  HAL_GPIO_Init(GPIOI, &GPIO_InitStruct);

  /*Configure GPIO pin : MII_MCO_Pin */
  GPIO_InitStruct.Pin = MII_MCO_Pin;
  GPIO_InitStruct.Mode = GPIO_MODE_AF_PP;
  GPIO_InitStruct.Pull = GPIO_NOPULL;
  GPIO_InitStruct.Speed = GPIO_SPEED_FREQ_LOW;
  GPIO_InitStruct.Alternate = GPIO_AF0_MCO;
  HAL_GPIO_Init(MII_MCO_GPIO_Port, &GPIO_InitStruct);

  /*Configure GPIO pin : LED0_Pin */
  GPIO_InitStruct.Pin = LED0_Pin;
  GPIO_InitStruct.Mode = GPIO_MODE_OUTPUT_PP;
  GPIO_InitStruct.Pull = GPIO_NOPULL;
  GPIO_InitStruct.Speed = GPIO_SPEED_FREQ_LOW;
  HAL_GPIO_Init(LED0_GPIO_Port, &GPIO_InitStruct);

  /*Configure GPIO pins : FMC_NE1_Pin FMC_NWAIT_Pin */
  GPIO_InitStruct.Pin = FMC_NE1_Pin|FMC_NWAIT_Pin;
  GPIO_InitStruct.Mode = GPIO_MODE_AF_PP;
  GPIO_InitStruct.Pull = GPIO_NOPULL;
  GPIO_InitStruct.Speed = GPIO_SPEED_FREQ_VERY_HIGH;
  GPIO_InitStruct.Alternate = GPIO_AF9_FMC;
  HAL_GPIO_Init(GPIOC, &GPIO_InitStruct);

  /*Configure GPIO pin : ULPI_NXT_Pin */
  GPIO_InitStruct.Pin = ULPI_NXT_Pin;
  GPIO_InitStruct.Mode = GPIO_MODE_AF_PP;
  GPIO_InitStruct.Pull = GPIO_NOPULL;
  GPIO_InitStruct.Speed = GPIO_SPEED_FREQ_VERY_HIGH;
  GPIO_InitStruct.Alternate = GPIO_AF10_OTG_HS;
  HAL_GPIO_Init(ULPI_NXT_GPIO_Port, &GPIO_InitStruct);

  /*Configure GPIO pins : QSPI_BK1_IO2_Pin QSPI_BK1_IO3_Pin */
  GPIO_InitStruct.Pin = QSPI_BK1_IO2_Pin|QSPI_BK1_IO3_Pin;
  GPIO_InitStruct.Mode = GPIO_MODE_AF_PP;
  GPIO_InitStruct.Pull = GPIO_NOPULL;
  GPIO_InitStruct.Speed = GPIO_SPEED_FREQ_VERY_HIGH;
  GPIO_InitStruct.Alternate = GPIO_AF9_QUADSPI;
  HAL_GPIO_Init(GPIOF, &GPIO_InitStruct);

  /*Configure GPIO pins : QSPI_BK1_IO1_Pin QSPI_BK1_IO0_Pin */
  GPIO_InitStruct.Pin = QSPI_BK1_IO1_Pin|QSPI_BK1_IO0_Pin;
  GPIO_InitStruct.Mode = GPIO_MODE_AF_PP;
  GPIO_InitStruct.Pull = GPIO_NOPULL;
  GPIO_InitStruct.Speed = GPIO_SPEED_FREQ_VERY_HIGH;
  GPIO_InitStruct.Alternate = GPIO_AF10_QUADSPI;
  HAL_GPIO_Init(GPIOF, &GPIO_InitStruct);

  /*Configure GPIO pins : MII_TX_CLK_Pin MII_TXD2_Pin MII_RXD0_Pin MII_RXD1_Pin */
  GPIO_InitStruct.Pin = MII_TX_CLK_Pin|MII_TXD2_Pin|MII_RXD0_Pin|MII_RXD1_Pin;
  GPIO_InitStruct.Mode = GPIO_MODE_AF_PP;
  GPIO_InitStruct.Pull = GPIO_NOPULL;
  GPIO_InitStruct.Speed = GPIO_SPEED_FREQ_VERY_HIGH;
  GPIO_InitStruct.Alternate = GPIO_AF11_ETH;
  HAL_GPIO_Init(GPIOC, &GPIO_InitStruct);

  /*Configure GPIO pin : ULPI_STP_Pin */
  GPIO_InitStruct.Pin = ULPI_STP_Pin;
  GPIO_InitStruct.Mode = GPIO_MODE_AF_PP;
  GPIO_InitStruct.Pull = GPIO_NOPULL;
  GPIO_InitStruct.Speed = GPIO_SPEED_FREQ_VERY_HIGH;
  GPIO_InitStruct.Alternate = GPIO_AF10_OTG_HS;
  HAL_GPIO_Init(ULPI_STP_GPIO_Port, &GPIO_InitStruct);

  /*Configure GPIO pin : SAI1_SDA_Pin */
  GPIO_InitStruct.Pin = SAI1_SDA_Pin;
  GPIO_InitStruct.Mode = GPIO_MODE_AF_PP;
  GPIO_InitStruct.Pull = GPIO_NOPULL;
  GPIO_InitStruct.Speed = GPIO_SPEED_FREQ_LOW;
  GPIO_InitStruct.Alternate = GPIO_AF6_SAI1;
  HAL_GPIO_Init(SAI1_SDA_GPIO_Port, &GPIO_InitStruct);

  /*Configure GPIO pins : MII_RX_CLK_Pin MII_RX_DV_Pin */
  GPIO_InitStruct.Pin = MII_RX_CLK_Pin|MII_RX_DV_Pin;
  GPIO_InitStruct.Mode = GPIO_MODE_AF_PP;
  GPIO_InitStruct.Pull = GPIO_NOPULL;
  GPIO_InitStruct.Speed = GPIO_SPEED_FREQ_VERY_HIGH;
  GPIO_InitStruct.Alternate = GPIO_AF11_ETH;
  HAL_GPIO_Init(GPIOA, &GPIO_InitStruct);

  /*Configure GPIO pin : SAI2_SDB_Pin */
  GPIO_InitStruct.Pin = SAI2_SDB_Pin;
  GPIO_InitStruct.Mode = GPIO_MODE_AF_PP;
  GPIO_InitStruct.Pull = GPIO_NOPULL;
  GPIO_InitStruct.Speed = GPIO_SPEED_FREQ_LOW;
  GPIO_InitStruct.Alternate = GPIO_AF10_SAI2;
  HAL_GPIO_Init(SAI2_SDB_GPIO_Port, &GPIO_InitStruct);

  /*Configure GPIO pins : PAR_HSYNC_Pin PAR_PCLK_Pin */
  GPIO_InitStruct.Pin = PAR_HSYNC_Pin|PAR_PCLK_Pin;
  GPIO_InitStruct.Mode = GPIO_MODE_AF_PP;
  GPIO_InitStruct.Pull = GPIO_NOPULL;
  GPIO_InitStruct.Speed = GPIO_SPEED_FREQ_LOW;
  GPIO_InitStruct.Alternate = GPIO_AF13_DCMI;
  HAL_GPIO_Init(GPIOA, &GPIO_InitStruct);

  /*Configure GPIO pin : LED3_Pin */
  GPIO_InitStruct.Pin = LED3_Pin;
  GPIO_InitStruct.Mode = GPIO_MODE_OUTPUT_PP;
  GPIO_InitStruct.Pull = GPIO_NOPULL;
  GPIO_InitStruct.Speed = GPIO_SPEED_FREQ_LOW;
  HAL_GPIO_Init(LED3_GPIO_Port, &GPIO_InitStruct);

  /*Configure GPIO pins : MII_RXD3_Pin MII_RXD2_Pin */
  GPIO_InitStruct.Pin = MII_RXD3_Pin|MII_RXD2_Pin;
  GPIO_InitStruct.Mode = GPIO_MODE_AF_PP;
  GPIO_InitStruct.Pull = GPIO_NOPULL;
  GPIO_InitStruct.Speed = GPIO_SPEED_FREQ_VERY_HIGH;
  GPIO_InitStruct.Alternate = GPIO_AF11_ETH;
  HAL_GPIO_Init(GPIOH, &GPIO_InitStruct);

  /*Configure GPIO pin : SAI2_SCKB_Pin */
  GPIO_InitStruct.Pin = SAI2_SCKB_Pin;
  GPIO_InitStruct.Mode = GPIO_MODE_AF_PP;
  GPIO_InitStruct.Pull = GPIO_NOPULL;
  GPIO_InitStruct.Speed = GPIO_SPEED_FREQ_LOW;
  GPIO_InitStruct.Alternate = GPIO_AF8_SAI2;
  HAL_GPIO_Init(SAI2_SCKB_GPIO_Port, &GPIO_InitStruct);

  /*Configure GPIO pins : ULPI_CK_Pin ULPI_D0_Pin */
  GPIO_InitStruct.Pin = ULPI_CK_Pin|ULPI_D0_Pin;
  GPIO_InitStruct.Mode = GPIO_MODE_AF_PP;
  GPIO_InitStruct.Pull = GPIO_NOPULL;
  GPIO_InitStruct.Speed = GPIO_SPEED_FREQ_VERY_HIGH;
  GPIO_InitStruct.Alternate = GPIO_AF10_OTG_HS;
  HAL_GPIO_Init(GPIOA, &GPIO_InitStruct);

  /*Configure GPIO pin : DSI_TE_Pin */
  GPIO_InitStruct.Pin = DSI_TE_Pin;
  GPIO_InitStruct.Mode = GPIO_MODE_AF_PP;
  GPIO_InitStruct.Pull = GPIO_NOPULL;
  GPIO_InitStruct.Speed = GPIO_SPEED_FREQ_LOW;
  GPIO_InitStruct.Alternate = GPIO_AF13_DSI;
  HAL_GPIO_Init(DSI_TE_GPIO_Port, &GPIO_InitStruct);

  /*Configure GPIO pins : USB_FS2_DM_Pin USB_FS2_DP_Pin */
  GPIO_InitStruct.Pin = USB_FS2_DM_Pin|USB_FS2_DP_Pin;
  GPIO_InitStruct.Mode = GPIO_MODE_AF_PP;
  GPIO_InitStruct.Pull = GPIO_NOPULL;
  GPIO_InitStruct.Speed = GPIO_SPEED_FREQ_VERY_HIGH;
  GPIO_InitStruct.Alternate = GPIO_AF12_OTG_HS_FS;
  HAL_GPIO_Init(GPIOB, &GPIO_InitStruct);

  /* EXTI interrupt init*/
  HAL_NVIC_SetPriority(EXTI4_IRQn, 0, 0);
  HAL_NVIC_EnableIRQ(EXTI4_IRQn);

}

void Error_Handler(void)
{
	__disable_irq();
	while (1) {
	}
}
